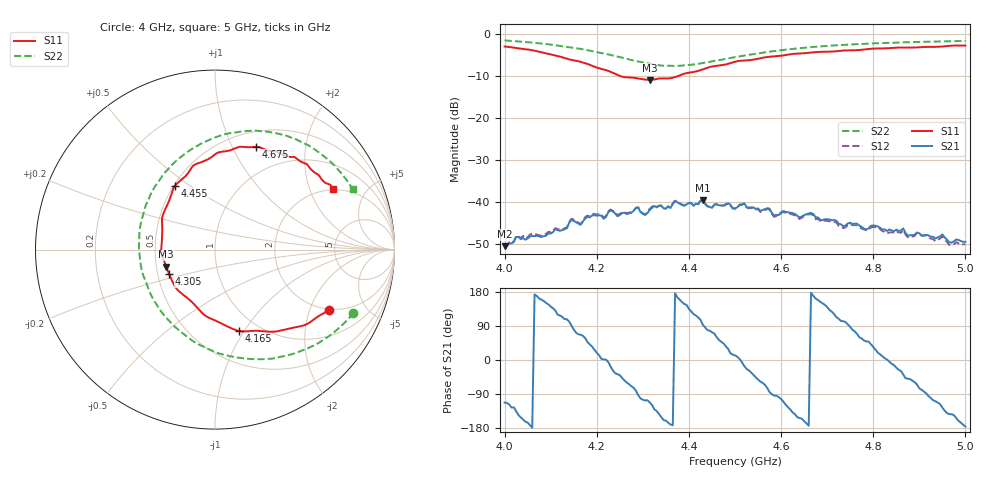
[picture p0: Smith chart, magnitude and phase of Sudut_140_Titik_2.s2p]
# Hz S RI R 50
! CMT, C1220, 16058040, 17.2.0/1
! Date: 15/08/2018 11:41:49
! Data: Format (Calibration Info)
! Freq  S11: Re/Im (F2)  S21: Re/Im (F2)  S12: Re/Im (F2)  S22: Re/Im (F2)
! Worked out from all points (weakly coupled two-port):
!   201 points, 4 GHz to 5 GHz, reference 50 ohm
!   highest |S21| = -39.53 dB at 4.43 GHz (marker M1); lowest = -50.5 dB at 4 GHz (marker M2)
!   lowest |S11| = -10.8 dB at 4.315 GHz (marker M3), VSWR 1.81, Z = 28.2 - j5.83 ohm
!   |S11| at or under -10 dB: 4.253 GHz to 4.374 GHz (120.9 MHz wide, 2.8 % of centre)
!   |S22| runs from -7.5 to -1.4 dB; largest |S21 - S12| = 0.00039
!   S11 on the Smith chart (normalised r, x): 4 GHz: 1.96, -2.74; 4.165 GHz: 0.81, -0.95; 4.305 GHz: 0.57, -0.17; 4.455 GHz: 0.51, +0.44; 4.675 GHz: 0.67, +1.24; 5 GHz: 1.98, +2.90
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4e9  0.6358 -0.3371  -0.00114 -0.00278  -0.00104 -0.00288  0.7712 -0.3528
4.025e9  0.5821 -0.3674  -0.00273 -0.00272  -0.00263 -0.00293  0.723 -0.4067
4.125e9  0.2791 -0.4556  -0.0019 0.00425  -0.00205 0.00429  0.4367 -0.5801
4.145e9  0.2068 -0.4527  -8.59e-05 0.00618  -0.000264 0.00636  0.3611 -0.5981
4.165e9  0.1319 -0.4532  0.00214 0.00496  0.00215 0.00511  0.2825 -0.61
4.17e9  0.116 -0.4482  0.00262 0.00531  0.00254 0.00551  0.2618 -0.6107
4.215e9  -0.0319 -0.3809  0.00637 0.000179  0.00659 0.000209  0.0653 -0.5896
4.23e9  -0.0735 -0.3512  0.00765 -0.00238  0.00785 -0.00239  -0.0021 -0.5697
4.245e9  -0.1112 -0.3101  0.0054 -0.00416  0.00559 -0.00431  -0.0649 -0.541
4.29e9  -0.2333 -0.1861  -0.000444 -0.00864  -0.000473 -0.0087  -0.246 -0.4068
4.305e9  -0.2561 -0.1352  -0.00202 -0.00675  -0.00205 -0.00692  -0.295 -0.3515
4.315e9  -0.2717 -0.0949  -0.00304 -0.00751  -0.00316 -0.00777  -0.3242 -0.3085
4.335e9  -0.2969 -0.0277  -0.00716 -0.00557  -0.0073 -0.00552  -0.3722 -0.2164
4.43e9  -0.248 0.2928  -0.000602 0.0105  -0.000344 0.0104  -0.3865 0.2444
4.455e9  -0.2228 0.3558  0.00326 0.00879  0.00343 0.00875  -0.3392 0.3447
4.5e9  -0.1318 0.4538  0.00827 0.0018  0.00819 0.00171  -0.2235 0.4876
4.52e9  -0.1018 0.4784  0.00939 -0.00262  0.00917 -0.00276  -0.1667 0.534
4.585e9  0.0424 0.5461  -0.000485 -0.00694  -0.000501 -0.00669  0.026 0.6342
4.67e9  0.2186 0.5719  -0.00712 0.00135  -0.00683 0.00149  0.2598 0.6593
4.675e9  0.2265 0.5725  -0.00629 0.00204  -0.00596 0.00199  0.2723 0.6593
4.835e9  0.4828 0.4878  0.00473 -0.000372  0.00438 -0.000214  0.5872 0.5354
5e9  0.6552 0.3352  -0.00337 -0.000248  -0.00315 -0.000345  0.7668 0.3369
